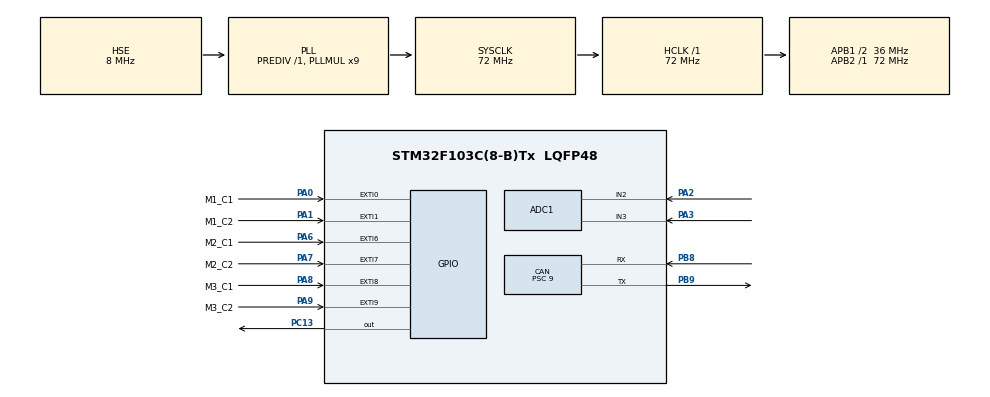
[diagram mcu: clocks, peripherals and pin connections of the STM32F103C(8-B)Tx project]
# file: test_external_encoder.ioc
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ADC1.Channel-0\#ChannelRegularConversion=ADC_CHANNEL_2
ADC1.Channel-1\#ChannelRegularConversion=ADC_CHANNEL_3
ADC1.ContinuousConvMode=ENABLE
ADC1.NbrOfConversion=2
ADC1.NbrOfConversionFlag=1
ADC1.Rank-0\#ChannelRegularConversion=1
ADC1.Rank-1\#ChannelRegularConversion=2
ADC1.SamplingTime-0\#ChannelRegularConversion=ADC_SAMPLETIME_1CYCLE_5
ADC1.SamplingTime-1\#ChannelRegularConversion=ADC_SAMPLETIME_239CYCLES_5
ADC1.master=1
CAN.BS1=CAN_BS1_2TQ
CAN.CalculateBaudRate=1000000
CAN.CalculateTimeBit=1000
CAN.CalculateTimeQuantum=250.0
CAN.Prescaler=9
Dma.ADC1.0.Direction=DMA_PERIPH_TO_MEMORY
Dma.ADC1.0.Instance=DMA1_Channel1
Dma.ADC1.0.MemDataAlignment=DMA_MDATAALIGN_HALFWORD
Dma.ADC1.0.MemInc=DMA_MINC_ENABLE
Dma.ADC1.0.Mode=DMA_CIRCULAR
Dma.ADC1.0.PeriphDataAlignment=DMA_PDATAALIGN_HALFWORD
Dma.ADC1.0.PeriphInc=DMA_PINC_DISABLE
Dma.ADC1.0.Priority=DMA_PRIORITY_MEDIUM
Dma.Request0=ADC1
Mcu.Family=STM32F1
Mcu.Name=STM32F103C(8-B)Tx
Mcu.Package=LQFP48
NVIC.CAN1_RX1_IRQn=true\:0\:0\:false\:false\:true\:true\:true\:true
NVIC.DMA1_Channel1_IRQn=true\:0\:0\:false\:false\:true\:false\:true\:true
NVIC.EXTI0_IRQn=true\:0\:0\:false\:false\:true\:true\:true\:true
NVIC.EXTI1_IRQn=true\:0\:0\:false\:false\:true\:true\:true\:true
NVIC.EXTI9_5_IRQn=true\:0\:0\:false\:false\:true\:true\:true\:true
NVIC.PriorityGroup=NVIC_PRIORITYGROUP_4
PA0-WKUP.GPIO_Label=M1_C1
PA0-WKUP.GPIO_ModeDefaultEXTI=GPIO_MODE_IT_RISING_FALLING
PA0-WKUP.Signal=GPXTI0
PA1.GPIO_Label=M1_C2
PA1.GPIO_ModeDefaultEXTI=GPIO_MODE_IT_RISING_FALLING
PA1.Signal=GPXTI1
PA13.Mode=Serial_Wire
PA13.Signal=SYS_JTMS-SWDIO
PA14.Mode=Serial_Wire
PA14.Signal=SYS_JTCK-SWCLK
PA2.Signal=ADCx_IN2
PA3.Signal=ADCx_IN3
PA6.GPIO_Label=M2_C1
PA6.GPIO_ModeDefaultEXTI=GPIO_MODE_IT_RISING_FALLING
PA6.Signal=GPXTI6
PA7.GPIO_Label=M2_C2
PA7.GPIO_ModeDefaultEXTI=GPIO_MODE_IT_RISING_FALLING
PA7.Signal=GPXTI7
PA8.GPIO_Label=M3_C1
PA8.GPIO_ModeDefaultEXTI=GPIO_MODE_IT_RISING_FALLING
PA8.Signal=GPXTI8
PA9.GPIO_Label=M3_C2
PA9.GPIO_ModeDefaultEXTI=GPIO_MODE_IT_RISING_FALLING
PA9.Signal=GPXTI9
PB8.Mode=CAN_Activate
PB8.Signal=CAN_RX
PB9.Mode=CAN_Activate
PB9.Signal=CAN_TX
PC13-TAMPER-RTC.Signal=GPIO_Output
PD0-OSC_IN.Mode=HSE-External-Oscillator
PD0-OSC_IN.Signal=RCC_OSC_IN
PD1-OSC_OUT.Mode=HSE-External-Oscillator
PD1-OSC_OUT.Signal=RCC_OSC_OUT
ProjectManager.HeapSize=0x200
ProjectManager.StackSize=0x400
ProjectManager.TargetToolchain=STM32CubeIDE
RCC.ADCPresc=RCC_ADCPCLK2_DIV6
RCC.AHBFreq_Value=72000000
RCC.APB1CLKDivider=RCC_HCLK_DIV2
RCC.APB1Freq_Value=36000000
RCC.APB1TimFreq_Value=72000000
RCC.APB2Freq_Value=72000000
RCC.APB2TimFreq_Value=72000000
RCC.HCLKFreq_Value=72000000
RCC.PLLMUL=RCC_PLL_MUL9
RCC.PLLSourceVirtual=RCC_PLLSOURCE_HSE
RCC.SYSCLKFreq_VALUE=72000000
RCC.SYSCLKSource=RCC_SYSCLKSOURCE_PLLCLK
RCC.USBFreq_Value=72000000
SH.ADCx_IN2.0=ADC1_IN2,IN2
SH.ADCx_IN3.0=ADC1_IN3,IN3
board=custom

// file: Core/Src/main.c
/* USER CODE BEGIN Header */
/**
  ******************************************************************************
  * @file           : main.c
  * @brief          : Main program body
  ******************************************************************************
  * @attention
  *
  * Copyright (c) 2023 STMicroelectronics.
  * All rights reserved.
  *
  * This software is licensed under terms that can be found in the LICENSE file
  * in the root directory of this software component.
  * If no LICENSE file comes with this software, it is provided AS-IS.
  *
  ******************************************************************************
  */
/* USER CODE END Header */
#include "main.h"
#include "adc.h"
#include "can.h"
#include "dma.h"
#include "gpio.h"

/* USER CODE BEGIN PM */
#define pi 3.1415
#define Motor1 0
#define Motor2 1
volatile uint8_t nowA[3];
volatile uint8_t nowB[3];
volatile uint8_t lastA[3];
volatile uint8_t lastB[3];
volatile uint8_t dir[3];
uint16_t cnt[3];
uint16_t Enc_count[3];

uint16_t count[3]; // count pulse from encoder
uint16_t new_count[3];
uint8_t count_state[3];
uint16_t diff[3]; // difference between count and new_count in a sample time

float speedM[3];
float rdps[3];

float Motor1_speed = 0;
float Motor2_speed = 0;
float V1 = 0; // target speed of motor1
float V2 = 0; // target speed of motor2
float pwm_M1 = 0;
float pwm_M2 = 0;

float RxData1 = 32768;
float RxData2 = 32768;
float RxData3 = 32768;
float RxData4 = 32768;

uint16_t V1_out = 32768;
uint16_t V2_out = 32768;

uint8_t flag = 0;
uint8_t cntt;

uint16_t AD_RES[2];
uint16_t pub_adc = 0;

/* USER CODE END PM */

/* USER CODE BEGIN PV */
CAN_RxHeaderTypeDef RxHeader;
uint8_t RxData[8];
CAN_TxHeaderTypeDef TxHeader;
uint8_t TxData[7];
uint32_t TxMailbox;

float map(float Input, float Min_Input, float Max_Input, float Min_Output, float Max_Output)
{

	return (float)((Input - Min_Input) * (Max_Output - Min_Output) / (Max_Input - Min_Input) + Min_Output);
}

void HAL_CAN_RxFifo1MsgPendingCallback(CAN_HandleTypeDef *hcan)
{
	HAL_CAN_GetRxMessage(hcan, CAN_RX_FIFO1, &RxHeader, RxData);
	cntt++;
	while (cntt - 100 > 0)
	{
		HAL_GPIO_TogglePin(GPIOC, GPIO_PIN_13);
		cntt = 0;
	}
	flag = 1;
}
/* USER CODE END PV */

void SystemClock_Config(void);
/* USER CODE BEGIN PFP */
uint16_t encoder(int i)
{
	if (nowA[i] != lastA[i])
	{
		lastA[i] = nowA[i];
		if (lastA[i] == 0)
		{
			if (nowB[i] == 0)
			{
				dir[i] = 0;
				cnt[i]--;
			}
			else
			{
				dir[i] = 1;
				cnt[i]++;
			}
		}
		else
		{
			if (nowB[i] == 1)
			{
				dir[i] = 0;
				cnt[i]--;
			}
			else
			{
				dir[i] = 1;
				cnt[i]++;
			}
		}
	}
	if (nowB[i] != lastB[i])
	{
		lastB[i] = nowB[i];
		if (lastB[i] == 0)
		{
			if (nowA[i] == 1)
			{
				dir[i] = 0;
				cnt[i]--;
			}
			else
			{
				dir[i] = 1;
				cnt[i]++;
			}
		}
		else
		{
			if (nowA[i] == 0)
			{
				dir[i] = 0;
				cnt[i]--;
			}
			else
			{
				dir[i] = 1;
				cnt[i]++;
			}
		}
	}
	return cnt[i];
}
/* USER CODE END PFP */

int main(void)
{

  /* MCU Configuration--------------------------------------------------------*/

  /* Reset of all peripherals, Initializes the Flash interface and the Systick. */
  HAL_Init();

  /* Configure the system clock */
  SystemClock_Config();

  /* Initialize all configured peripherals */
  MX_GPIO_Init();
  MX_DMA_Init();
  MX_CAN_Init();
  MX_ADC1_Init();
  /* USER CODE BEGIN 2 */
	HAL_CAN_Start(&hcan);
	HAL_CAN_ActivateNotification(&hcan, CAN_IT_RX_FIFO1_MSG_PENDING);

	TxHeader.DLC = 8; // data length
	TxHeader.IDE = CAN_ID_STD;
	TxHeader.RTR = CAN_RTR_DATA;
	TxHeader.StdId = 0x333; // ID

	HAL_ADCEx_Calibration_Start(&hadc1);
	HAL_ADC_Start_DMA(&hadc1, &AD_RES, 2);
  /* USER CODE END 2 */

  /* Infinite loop */
  while (1)
  {

    /* USER CODE BEGIN 3 */
	  	pub_adc = AD_RES[0];

		TxData[0] = ((Enc_count[0] & 0xFF00) >> 8);
		TxData[1] = (Enc_count[0] & 0x00FF);
		TxData[2] = ((Enc_count[1] & 0xFF00) >> 8);
		TxData[3] = (Enc_count[1] & 0x00FF);
		TxData[4] = ((Enc_count[2] & 0xFF00) >> 8);
		TxData[5] = (Enc_count[2] & 0x00FF);
		TxData[6] = ((pub_adc & 0xFF00) >> 8);
		TxData[7] = (pub_adc & 0x00FF);

		if(flag == 1){
			HAL_CAN_AddTxMessage(&hcan, &TxHeader, TxData, &TxMailbox);
			flag = 0;
		}

  }
  /* USER CODE END 3 */
}

void SystemClock_Config(void)
{
  RCC_OscInitTypeDef RCC_OscInitStruct = {0};
  RCC_ClkInitTypeDef RCC_ClkInitStruct = {0};
  RCC_PeriphCLKInitTypeDef PeriphClkInit = {0};

  /** Initializes the RCC Oscillators according to the specified parameters
  * in the RCC_OscInitTypeDef structure.
  */
  RCC_OscInitStruct.OscillatorType = RCC_OSCILLATORTYPE_HSE;
  RCC_OscInitStruct.HSEState = RCC_HSE_ON;
  RCC_OscInitStruct.HSEPredivValue = RCC_HSE_PREDIV_DIV1;
  RCC_OscInitStruct.HSIState = RCC_HSI_ON;
  RCC_OscInitStruct.PLL.PLLState = RCC_PLL_ON;
  RCC_OscInitStruct.PLL.PLLSource = RCC_PLLSOURCE_HSE;
  RCC_OscInitStruct.PLL.PLLMUL = RCC_PLL_MUL9;
  if (HAL_RCC_OscConfig(&RCC_OscInitStruct) != HAL_OK)
  {
    Error_Handler();
  }

  /** Initializes the CPU, AHB and APB buses clocks
  */
  RCC_ClkInitStruct.ClockType = RCC_CLOCKTYPE_HCLK|RCC_CLOCKTYPE_SYSCLK
                              |RCC_CLOCKTYPE_PCLK1|RCC_CLOCKTYPE_PCLK2;
  RCC_ClkInitStruct.SYSCLKSource = RCC_SYSCLKSOURCE_PLLCLK;
  RCC_ClkInitStruct.AHBCLKDivider = RCC_SYSCLK_DIV1;
  RCC_ClkInitStruct.APB1CLKDivider = RCC_HCLK_DIV2;
  RCC_ClkInitStruct.APB2CLKDivider = RCC_HCLK_DIV1;

  if (HAL_RCC_ClockConfig(&RCC_ClkInitStruct, FLASH_LATENCY_2) != HAL_OK)
  {
    Error_Handler();
  }
  PeriphClkInit.PeriphClockSelection = RCC_PERIPHCLK_ADC;
  PeriphClkInit.AdcClockSelection = RCC_ADCPCLK2_DIV6;
  if (HAL_RCCEx_PeriphCLKConfig(&PeriphClkInit) != HAL_OK)
  {
    Error_Handler();
  }
}

/* USER CODE BEGIN 4 */
void HAL_ADC_ConvCpltCallback(ADC_HandleTypeDef* hadc)
{
    // Conversion Complete & DMA Transfer Complete As Well
    // So The AD_RES Is Now Updated & Let's Move IT To The PWM CCR1
    // Update The PWM Duty Cycle With Latest ADC Conversion Result

}
void HAL_GPIO_EXTI_Callback(uint16_t GPIO_Pin)
{
	if (GPIO_Pin == M1_C1_Pin || M1_C2_Pin)
	{ // ENCODER Motor 1
		nowA[0] = HAL_GPIO_ReadPin(M1_C1_GPIO_Port, M1_C1_Pin);
		nowB[0] = HAL_GPIO_ReadPin(M1_C2_GPIO_Port, M1_C2_Pin);
		Enc_count[0] = encoder(0);
	}
	if (GPIO_Pin == M2_C1_Pin || M2_C2_Pin)
	{ // ENCODER Motor 1
		nowA[1] = HAL_GPIO_ReadPin(M2_C1_GPIO_Port, M2_C1_Pin);
		nowB[1] = HAL_GPIO_ReadPin(M2_C2_GPIO_Port, M2_C2_Pin);
		Enc_count[1] = encoder(1);
	}
	if (GPIO_Pin == M3_C1_Pin || M3_C2_Pin)
	{ // ENCODER Motor 1
		nowA[2] = HAL_GPIO_ReadPin(M3_C1_GPIO_Port, M3_C1_Pin);
		nowB[2] = HAL_GPIO_ReadPin(M3_C2_GPIO_Port, M3_C2_Pin);
		Enc_count[2] = encoder(2);
	}
}
/* USER CODE END 4 */

void Error_Handler(void)
{
  __disable_irq();
  while (1)
  {
  }
}
